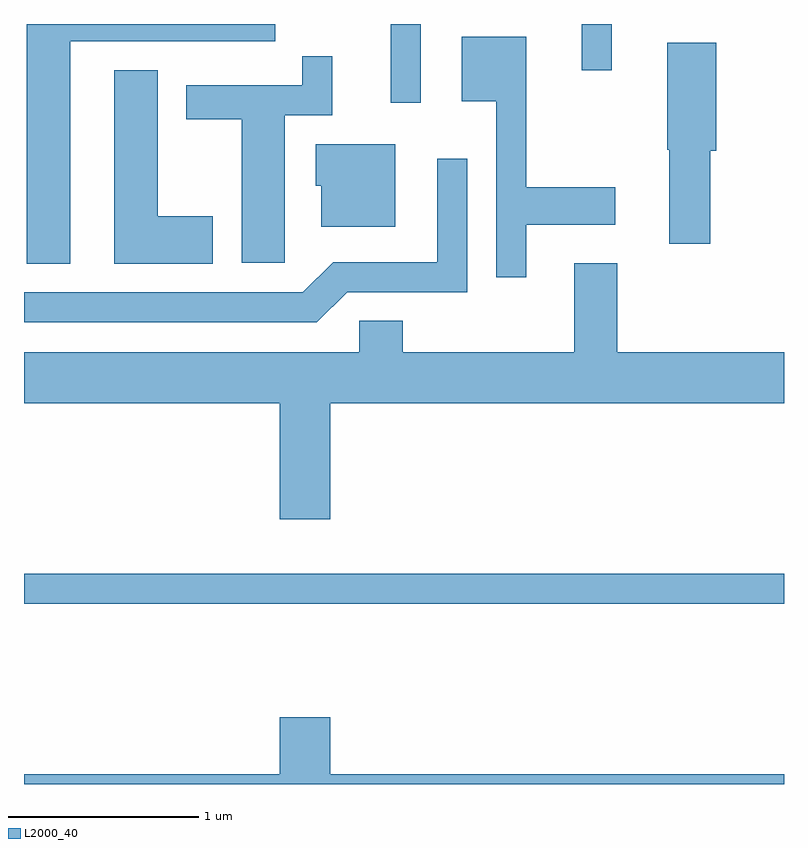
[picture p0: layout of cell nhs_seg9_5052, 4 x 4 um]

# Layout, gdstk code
import gdstk
lib = gdstk.Library(unit=1e-6, precision=1e-09)
def R(c, l, rs):  # rectangles x0, y0, x1, y1
    for r in rs: c.add(gdstk.rectangle(r[:2], r[2:], *l))
def P(c, l, *ps):  # polygons
    for p in ps: c.add(gdstk.Polygon(p, *l))
L2000_40 = (2000, 40)

nhs_seg9_5052 = lib.new_cell('nhs_seg9_5052')
R(nhs_seg9_5052, L2000_40, [(333.611,2037.381,337.611,2037.539), (335.541,2040.018,335.699,2040.432), (336.546,2040.188,336.704,2040.432)])
P(nhs_seg9_5052, L2000_40, [(333.854,2040.341),(334.933,2040.341),(334.933,2040.432),(333.626,2040.432),(333.626,2039.171),(333.854,2039.171)],
  [(336.254,2039.376),(336.724,2039.376),(336.724,2039.574),(336.254,2039.574),(336.254,2040.364),(335.916,2040.364),(335.916,2040.026),(336.096,2040.026),(336.096,2039.098),(336.254,2039.098)],
  [(337.224,2039.766),(337.254,2039.766),(337.254,2040.334),(336.996,2040.334),(336.996,2039.77),(337.006,2039.77),(337.006,2039.276),(337.224,2039.276)],
  [(334.984,2039.951),(335.234,2039.951),(335.234,2040.263),(335.076,2040.263),(335.076,2040.109),(334.466,2040.109),(334.466,2039.931),(334.756,2039.931),(334.756,2039.176),(334.984,2039.176)],
  [(334.604,2039.419),(334.314,2039.419),(334.314,2040.189),(334.086,2040.189),(334.086,2039.171),(334.604,2039.171)],
  [(335.564,2039.799),(335.146,2039.799),(335.146,2039.581),(335.176,2039.581),(335.176,2039.366),(335.564,2039.366)],
  [(335.312,2039.021),(335.944,2039.021),(335.944,2039.723),(335.786,2039.723),(335.786,2039.179),(335.239,2039.179),(335.079,2039.019),(333.611,2039.019),(333.611,2038.861),(335.152,2038.861)],
  [(335.224,2038.436),(337.611,2038.436),(337.611,2038.704),(336.734,2038.704),(336.734,2039.174),(336.506,2039.174),(336.506,2038.704),(335.604,2038.704),(335.604,2038.869),(335.376,2038.869),(335.376,2038.704),(333.611,2038.704),(333.611,2038.436),(334.956,2038.436),(334.956,2037.826),(335.224,2037.826)],
  [(337.611,2036.484),(335.224,2036.484),(335.224,2036.784),(334.956,2036.784),(334.956,2036.484),(333.611,2036.484),(333.611,2036.432),(337.611,2036.432)])

lib.write_gds('nhs_seg9_5052.gds')
